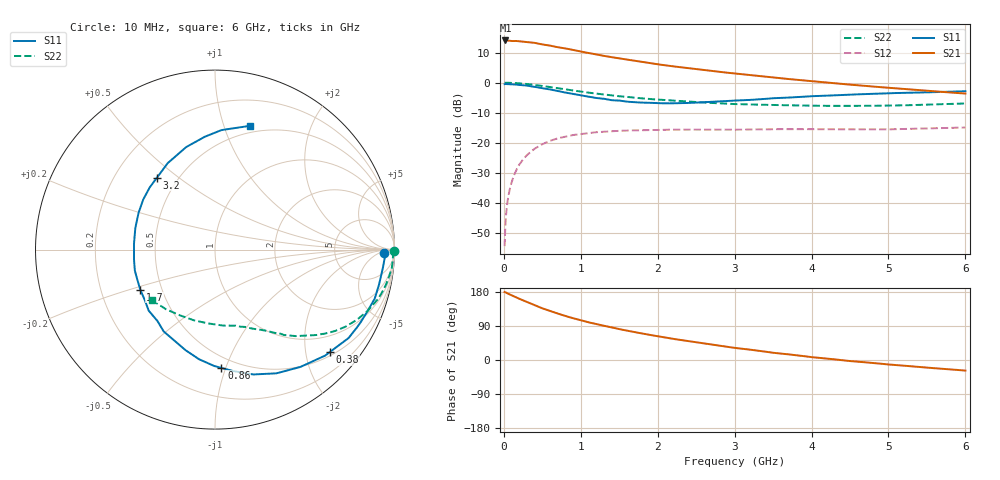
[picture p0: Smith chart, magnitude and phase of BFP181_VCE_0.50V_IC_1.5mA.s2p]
! Infineon Technologies  Discrete & RF Semiconductors
! BFP181
! VCE = 0.50V,  IC =  1.5 mA
! Common Emitter S-Parameters:  Jan 2016
# GHz  S  MA  R  50
!  f  S11  S21  S12  S22
! GHz  MAG  ANG  MAG  ANG  MAG  ANG  MAG  ANG
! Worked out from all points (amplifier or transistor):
!   210 points, 10 MHz to 6 GHz, reference 50 ohm
!   highest |S21| = 14.0 dB at 20 MHz (marker M1)
!   |S21| within 3 dB of that: start of sweep to 868.7 MHz
!   unconditionally stable (mu >= 1): 2.296 GHz to end of sweep
!   at 185 MHz: K = 0.10, MSG = 20.9 dB, |S12| = -28.0 dB
!   at 1.52 GHz: K = 0.70, MSG = 12.0 dB, |S12| = -16.1 dB
!   at 6 GHz: K = 1.43, MAG = 1.7 dB, |S12| = -14.9 dB
!   S11 on the Smith chart (normalised r, x): 10 MHz: 29, -11; 380 MHz: 0.58, -2.51; 860 MHz: 0.41, -0.97; 1.7 GHz: 0.38, -0.22; 3.2 GHz: 0.38, +0.42; 6 GHz: 0.43, +1.23
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0.01  0.9424 -1.3  4.963 179.4  0.0019 86.9  0.9946 -0.5
0.02  0.9478 -2.3  5.023 178.8  0.0042 85.1  0.9932 -1.1
0.035  0.9447 -3.8  5.019 177.2  0.0076 86.2  0.9927 -2.0
0.055  0.9411 -6.0  5.008 175.0  0.0121 85.9  0.9922 -3.3
0.125  0.932 -14.2  4.924 168.6  0.0271 80.7  0.9858 -7.3
0.2  0.9147 -22.7  4.882 161.6  0.0431 75.7  0.9727 -11.5
0.3  0.8926 -33.5  4.754 153.4  0.062 68.9  0.9486 -16.9
0.38  0.8575 -41.7  4.608 146.2  0.0759 63.5  0.9218 -21.0
0.5  0.8088 -53.9  4.317 136.4  0.0944 56.5  0.8804 -26.5
0.6  0.7696 -63.6  4.127 129.4  0.1073 51.2  0.8441 -30.6
0.86  0.6603 -86.9  3.574 112.6  0.131 39.7  0.7534 -38.8
1.02  0.6096 -99.8  3.238 103.9  0.1406 34.0  0.7025 -42.9
1.3  0.5382 -122.1  2.785 90.3  0.1525 25.7  0.634 -49.0
1.5  0.5023 -137.3  2.537 81.4  0.1569 21.5  0.5927 -52.2
1.7  0.4724 -151.9  2.311 73.6  0.1604 17.8  0.5605 -55.3
2.02  0.4546 -172.9  2 62.1  0.1637 13.4  0.5195 -59.6
2.42  0.4605 163.7  1.723 49.1  0.1655 8.4  0.4803 -65.8
3.1  0.5076 132.6  1.375 29.7  0.1655 3.1  0.4357 -76.6
3.2  0.515 128.9  1.331 27.3  0.1662 2.6  0.4326 -78.3
4.1  0.5993 103.5  1.029 5.7  0.1676 -2.0  0.4116 -96.9
5.1  0.6703 85.5  0.801 -13.3  0.1679 -4.6  0.4166 -120.3
6  0.7177 74.1  0.657 -28.0  0.1791 -5.6  0.4496 -141.0
